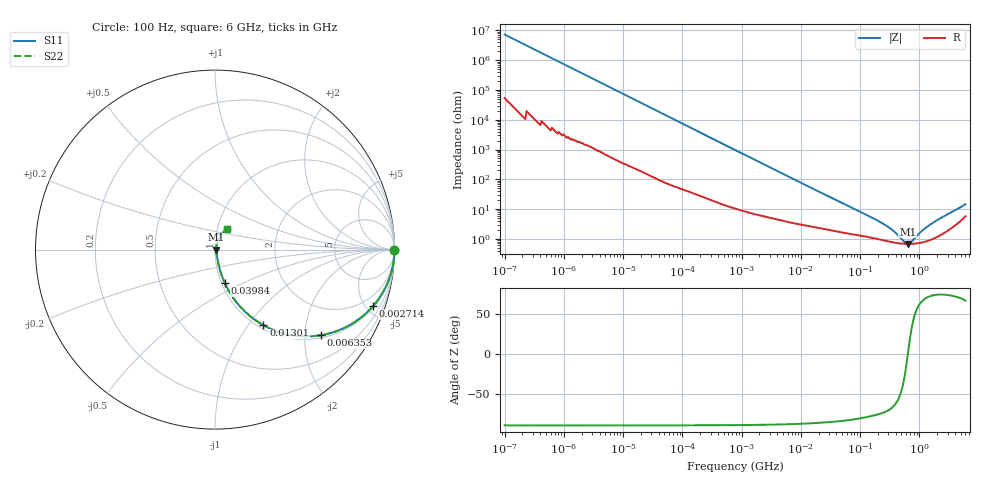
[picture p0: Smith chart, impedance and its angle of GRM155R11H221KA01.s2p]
!Murata Part Number: GRM155R11H221KA01
!These Parameters are Measured in Series Mode Connection
!Data Generated on Mar 30, 2021
!  o--ll--o
!Port1  Port2
!  o------o
!Operation Temp=25[degC], DC Bias Voltage=0[V]
!Freq. Start=100[Hz] Stop=6[GHz] 401[Steps]
# Hz S RI R 50
!Freq.(Hz) S11(Real) S11(Imag) S21(Real) S21(Imag) S12(Real) S12(Imag) S22(Real) S22(Imag)
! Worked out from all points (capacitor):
!   401 points, 100 Hz to 6 GHz, reference 50 ohm
!   read as one part in series: C = 218 pF near 109 Hz
!   lowest |Z| = 677 mohm at 639.6 MHz (marker M1)
!   series resonance near 641.5 MHz, so ESL is about 280 pH
!   S11 on the Smith chart (normalised r, x): 100 Hz: open; 2.714 MHz: 1.11, -5.57; 6.353 MHz: 1.07, -2.40; 13.01 MHz: 1.05, -1.19; 39.84 MHz: 1.04, -0.40; 6 GHz: 1.11, +0.27
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100  1 -1.37e-05  1e-07 1.37e-05  1e-07 1.37e-05  1 -1.37e-05
717  1 -9.78e-05  4e-07 9.78e-05  4e-07 9.78e-05  1 -9.78e-05
2008  1 -0.000273  1.3e-06 0.000273  1.3e-06 0.000273  1 -0.000273
40335  0.9999 -0.00544  5.76e-05 0.00544  5.76e-05 0.00544  0.9999 -0.00544
241822  0.9987 -0.0323  0.0013 0.0323  0.0013 0.0323  0.9987 -0.0323
774597  0.9884 -0.1019  0.0116 0.1019  0.0116 0.1019  0.9884 -0.1019
1585629  0.9549 -0.2003  0.0451 0.2003  0.0451 0.2003  0.9549 -0.2003
2713602  0.8813 -0.3139  0.1187 0.3139  0.1187 0.3139  0.8813 -0.3139
4060267  0.7724 -0.4076  0.2276 0.4076  0.2276 0.4076  0.7724 -0.4076
6353432  0.5882 -0.4774  0.4118 0.4774  0.4118 0.4774  0.5882 -0.4774
1.300572e7  0.2697 -0.4212  0.7303 0.4212  0.7303 0.4212  0.2697 -0.4212
1.555665e7  0.2106 -0.3826  0.7894 0.3826  0.7894 0.3826  0.2106 -0.3826
2.434276e7  0.1093 -0.2799  0.8907 0.2799  0.8907 0.2799  0.1093 -0.2799
3.983537e7  0.0537 -0.1849  0.9463 0.1849  0.9463 0.1849  0.0537 -0.1849
1.669249e8  0.0128 -0.047  0.9872 0.047  0.9872 0.047  0.0128 -0.047
3.124326e8  0.00847 -0.0218  0.9915 0.0218  0.9915 0.0218  0.00847 -0.0218
5.59173e8  0.0068 -0.00396  0.9932 0.00396  0.9932 0.00396  0.0068 -0.00396
6.395615e8  0.00672 -8.54e-05  0.9933 8.54e-05  0.9933 8.54e-05  0.00672 -8.54e-05
7.31507e8  0.00676 0.00381  0.9932 -0.00381  0.9932 -0.00381  0.00676 0.00381
1.094528e9  0.00772 0.0162  0.9923 -0.0162  0.9923 -0.0162  0.00772 0.0162
1.565993e9  0.0101 0.0292  0.9899 -0.0292  0.9899 -0.0292  0.0101 0.0292
6e9  0.069 0.1175  0.931 -0.1175  0.931 -0.1175  0.069 0.1175
